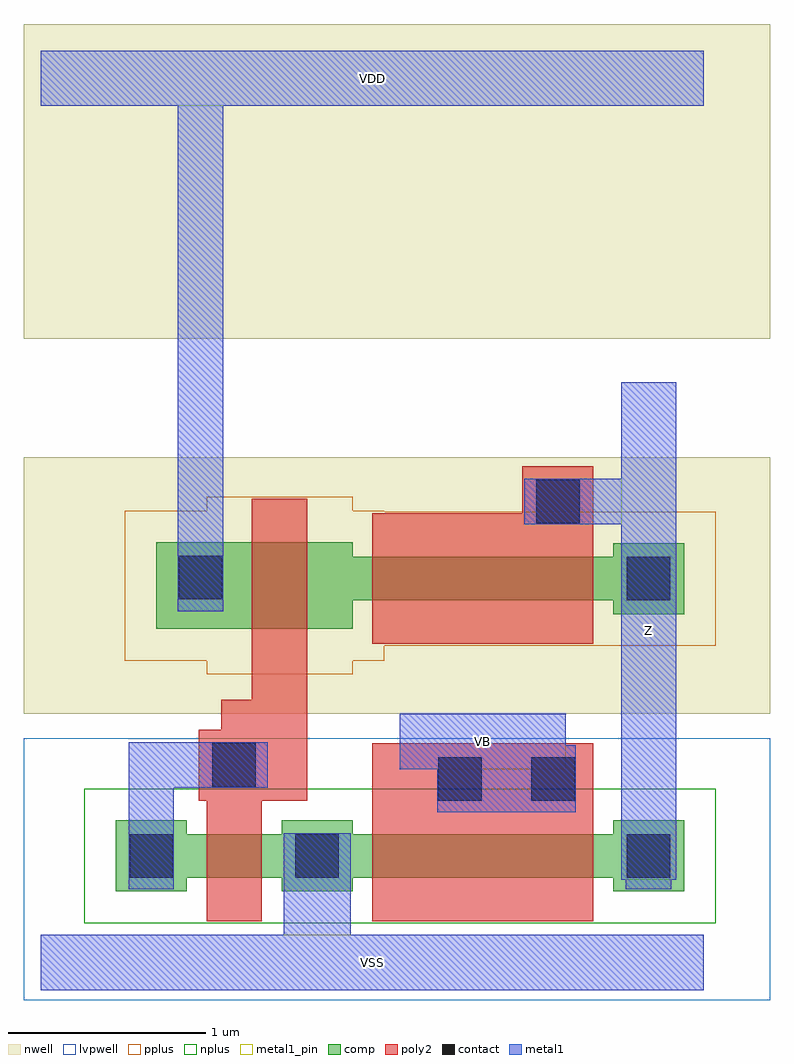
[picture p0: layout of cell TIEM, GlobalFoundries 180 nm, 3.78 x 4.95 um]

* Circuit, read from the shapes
.subckt TIEM VB VDD VSS Z
XM1 VSS n1 n1 VSUBS nfet_03v3 w=0.22u l=0.28u
XM2 Z VB VSS VSUBS nfet_03v3 w=0.22u l=1.12u
XM3 n2 n1 VDD n3 pfet_03v3 w=0.44u l=0.28u
XM4 Z Z n2 n3 pfet_03v3 w=0.22u l=1.12u
.ends

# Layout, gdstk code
import gdstk
lib = gdstk.Library(unit=1e-6, precision=1e-09)
def R(c, l, rs):  # rectangles x0, y0, x1, y1
    for r in rs: c.add(gdstk.rectangle(r[:2], r[2:], *l))
nwell = (21, 0)
comp = (22, 0)
poly2 = (30, 0)
pplus = (31, 0)
nplus = (32, 0)
contact = (33, 0)
metal1 = (34, 0)
metal1_pin = (34, 10)
lvpwell = (204, 0)

tiem = lib.new_cell('TIEM')
R(tiem, nwell, [(-0.085,1.26,3.695,2.56), (-0.085,3.16,3.695,4.755)])
R(tiem, comp, [(0.38,0.36,0.74,0.43), (1.22,0.36,1.58,0.43), (2.9,0.36,3.26,0.43), (0.38,0.43,3.26,0.65), (0.38,0.65,0.74,0.72), (1.22,0.65,1.58,0.72), (2.9,0.65,3.26,0.72), (0.585,1.69,1.58,1.835), (2.9,1.765,3.26,1.835), (0.585,1.835,3.26,2.055), (0.585,2.055,1.58,2.13), (2.9,2.055,3.26,2.125)])
R(tiem, poly2, [(0.84,0.21,1.12,0.82), (1.68,0.21,2.8,1.11), (0.8,0.82,1.35,1.18), (0.915,1.18,1.35,1.33), (1.07,1.33,1.35,2.35), (1.68,1.615,2.8,2.275), (2.44,2.275,2.8,2.515)])
R(tiem, pplus, [(0.84,1.46,1.58,1.53), (0.425,1.53,1.74,1.605), (0.425,1.605,3.42,2.285), (0.425,2.285,1.74,2.29), (0.84,2.29,1.58,2.36)])
R(tiem, nplus, [(0.22,0.2,3.42,0.88)])
R(tiem, contact, [(0.45,0.43,0.67,0.65), (1.29,0.43,1.51,0.65), (2.97,0.43,3.19,0.65), (2.015,0.82,2.235,1.04), (2.485,0.82,2.705,1.04), (0.87,0.89,1.09,1.11), (2.97,1.835,3.19,2.055), (0.7,1.84,0.92,2.06), (2.51,2.225,2.73,2.445)])
R(tiem, metal1, [(0,-0.14,3.36,0.14), (1.23,0.14,1.57,0.655), (0.445,0.37,0.675,0.885), (2.965,0.37,3.195,0.42), (2.94,0.42,3.22,2.22), (2.01,0.76,2.71,0.98), (0.445,0.885,1.15,1.115), (1.82,0.98,2.71,1.1), (1.82,1.1,2.66,1.26), (0.695,1.78,0.925,4.34), (2.45,2.22,3.22,2.45), (2.94,2.45,3.22,2.94), (0,4.34,3.36,4.62)])
R(tiem, metal1_pin, [(0,-0.14,3.36,0.14), (2.94,0.42,3.22,2.94), (1.82,0.98,2.66,1.26), (0,4.34,3.36,4.62)])
R(tiem, lvpwell, [(-0.085,-0.19,3.695,1.135)])
tiem.add(gdstk.Label('VSS', (1.68,0), layer=34, texttype=10))
tiem.add(gdstk.Label('VDD', (1.68,4.48), layer=34, texttype=10))
tiem.add(gdstk.Label('Z', (3.08,1.68), layer=34, texttype=10))
tiem.add(gdstk.Label('VB', (2.24,1.12), layer=34, texttype=10))

lib.write_gds('TIEM.gds')
